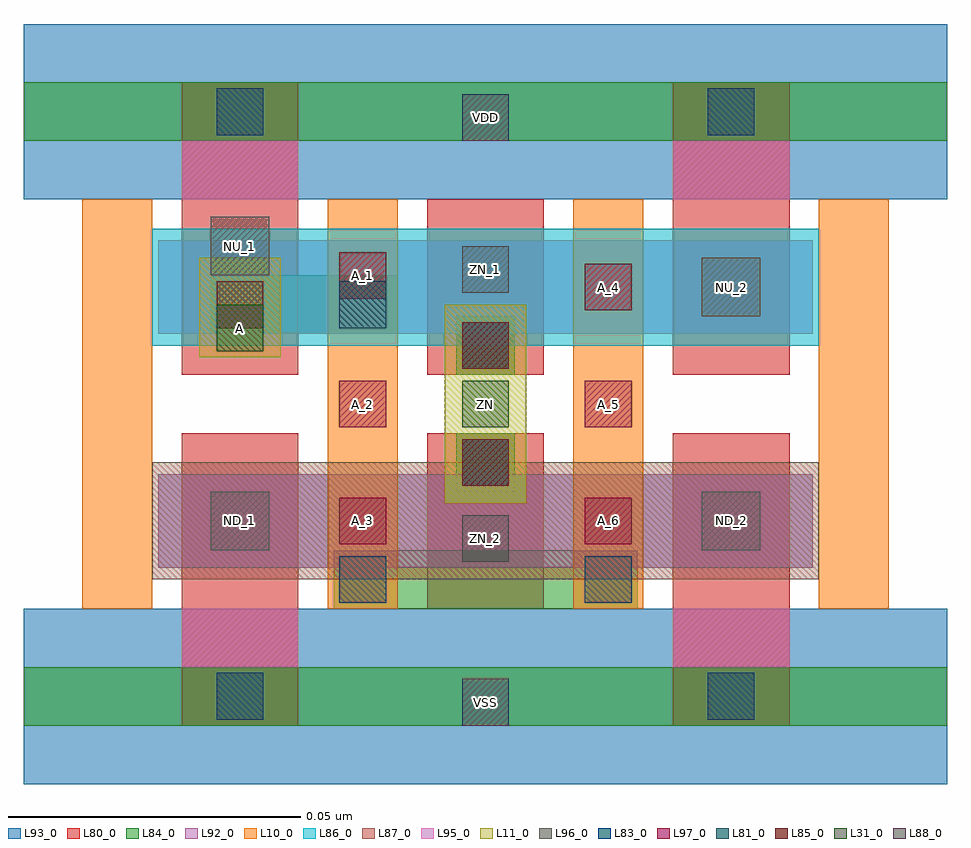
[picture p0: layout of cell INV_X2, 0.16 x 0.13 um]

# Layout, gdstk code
import gdstk
lib = gdstk.Library(unit=1e-6, precision=1e-09)
def R(c, l, rs):  # rectangles x0, y0, x1, y1
    for r in rs: c.add(gdstk.rectangle(r[:2], r[2:], *l))
def A(c, l, x, y, w, h, nx, ny, dx, dy):  # array of equal rectangles
    R(c, l, [(x+i*dx, y+j*dy, x+i*dx+w, y+j*dy+h) for i in range(nx) for j in range(ny)])
L10_0 = (10, 0)
L11_0 = (11, 0)
L31_0 = (31, 0)
L80_0 = (80, 0)
L81_0 = (81, 0)
L83_0 = (83, 0)
L84_0 = (84, 0)
L85_0 = (85, 0)
L86_0 = (86, 0)
L87_0 = (87, 0)
L88_0 = (88, 0)
L92_0 = (92, 0)
L93_0 = (93, 0)
L95_0 = (95, 0)
L96_0 = (96, 0)
L97_0 = (97, 0)

inv_x2 = lib.new_cell('INV_X2')
A(inv_x2, L10_0, -0.027, 0.015, 0.012, 0.07, 4, 1, 0.042, 0)
R(inv_x2, L11_0, [(0.035,0.033,0.049,0.067), (-0.007,0.058,0.007,0.075)])
R(inv_x2, L31_0, [(0.038,0.046,0.046,0.054), (-0.004,0.059,0.004,0.067)])
A(inv_x2, L80_0, -0.01, 0.015, 0.02, 0.03, 3, 2, 0.042, 0.04)
R(inv_x2, L80_0, [(-0.01,-0.005,0.01,0.025), (0.074,-0.005,0.094,0.025), (-0.01,0.075,0.01,0.105), (0.074,0.075,0.094,0.105)])
R(inv_x2, L81_0, [(0.017,0.016,0.025,0.024), (0.059,0.016,0.067,0.024), (0.017,0.063,0.025,0.071)])
R(inv_x2, L83_0, [(-0.004,-0.004,0.004,0.004), (0.08,-0.004,0.088,0.004), (0.038,0.036,0.046,0.044), (0.038,0.056,0.046,0.064), (-0.004,0.096,0.004,0.104), (0.08,0.096,0.088,0.104)])
R(inv_x2, L84_0, [(-0.037,-0.005,0.121,0.005), (0.016,0.015,0.047,0.025), (0.037,0.015,0.068,0.025), (0.037,0.035,0.047,0.045), (0.037,0.055,0.047,0.065), (-0.005,0.062,0.027,0.072), (-0.037,0.095,0.121,0.105)])
R(inv_x2, L85_0, [(0.038,0.036,0.046,0.044), (0.038,0.056,0.046,0.064), (-0.004,0.063,0.004,0.071)])
R(inv_x2, L86_0, [(-0.015,0.06,0.099,0.08)])
R(inv_x2, L87_0, [(-0.015,0.02,0.099,0.04)])
R(inv_x2, L88_0, [(0.038,-0.005,0.046,0.003), (0.038,0.095,0.046,0.103)])
R(inv_x2, L92_0, [(-0.014,0.022,0.098,0.038), (-0.014,0.062,0.098,0.078)])
R(inv_x2, L93_0, [(-0.037,-0.015,0.121,0.015), (-0.037,0.085,0.121,0.115)])
R(inv_x2, L95_0, [(-0.01,0.005,0.01,0.015), (0.074,0.005,0.094,0.015), (-0.01,0.085,0.01,0.095), (0.074,0.085,0.094,0.095)])
R(inv_x2, L96_0, [(0.038,0.023,0.046,0.031), (-0.005,0.025,0.005,0.035), (0.079,0.025,0.089,0.035), (0.079,0.065,0.089,0.075), (0.038,0.069,0.046,0.077), (-0.005,0.072,0.005,0.082)])
A(inv_x2, L97_0, 0.059, 0.026, 0.008, 0.008, 1, 3, 0, 0.02)
R(inv_x2, L97_0, [(0.017,0.026,0.025,0.034), (0.017,0.046,0.025,0.054), (0.017,0.068,0.025,0.076)])
inv_x2.add(gdstk.Label('NU_1', (0,0.077), layer=96, texttype=0))
inv_x2.add(gdstk.Label('NU_2', (0.084,0.07), layer=96, texttype=0))
inv_x2.add(gdstk.Label('ND_2', (0.084,0.03), layer=96, texttype=0))
inv_x2.add(gdstk.Label('ND_1', (0,0.03), layer=96, texttype=0))
inv_x2.add(gdstk.Label('ZN_1', (0.042,0.073), layer=96, texttype=0))
inv_x2.add(gdstk.Label('ZN_2', (0.042,0.027), layer=96, texttype=0))
inv_x2.add(gdstk.Label('A', (0,0.063), layer=31, texttype=0))
inv_x2.add(gdstk.Label('ZN', (0.042,0.05), layer=31, texttype=0))
inv_x2.add(gdstk.Label('A_1', (0.021,0.072), layer=97, texttype=0))
inv_x2.add(gdstk.Label('A_2', (0.021,0.05), layer=97, texttype=0))
inv_x2.add(gdstk.Label('A_3', (0.021,0.03), layer=97, texttype=0))
inv_x2.add(gdstk.Label('A_4', (0.063,0.07), layer=97, texttype=0))
inv_x2.add(gdstk.Label('A_5', (0.063,0.05), layer=97, texttype=0))
inv_x2.add(gdstk.Label('A_6', (0.063,0.03), layer=97, texttype=0))
inv_x2.add(gdstk.Label('VSS', (0.042,-0.001), layer=88, texttype=0))
inv_x2.add(gdstk.Label('VDD', (0.042,0.099), layer=88, texttype=0))

lib.write_gds('INV_X2.gds')
